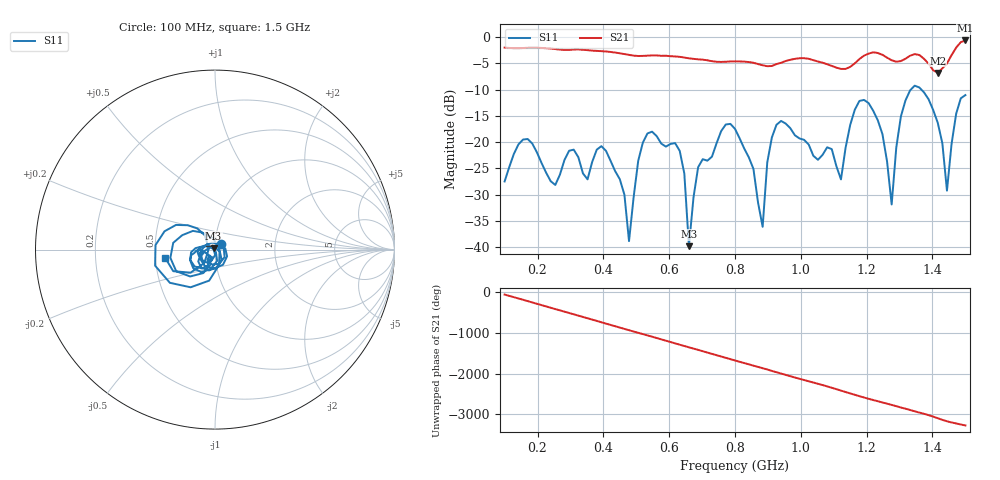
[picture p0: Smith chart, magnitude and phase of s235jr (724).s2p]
! NanoVNA-App
! Date: 2025-09-25 15:09:48
! Start: 100MHz Stop: 1,5GHz Points: 101
! S-Parameter data: F S11 S21 S12 S22
# Hz S RI R 50
!  Frequency  S11_Real  S11_Imag  S21_Real  S21_Imag  S12_Real  S12_Imag  S22_Real  S22_Imag
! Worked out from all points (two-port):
!   101 points, 100 MHz to 1.5 GHz, reference 50 ohm
!   highest |S21| = -0.62 dB at 1.5 GHz (marker M1); lowest = -6.8 dB at 1.416 GHz (marker M2)
!   |S21| within 3 dB of the highest: start of sweep to 604.6 MHz; 1.19 GHz to 1.255 GHz (65.09 MHz wide, 5.33 % of centre) (the widest 2 of 4)
!   lowest |S11| = -39.8 dB at 660 MHz (marker M3), VSWR 1.02, Z = 49.2 + j0.618 ohm
!   |S11| at or under -10 dB: start of sweep to 1.334 GHz; 1.367 GHz to end of sweep
!   S12 and S22 are empty: the file has one direction only
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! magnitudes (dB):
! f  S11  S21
! 100 MHz  -27.5  -2.0
! 170 MHz  -19.4  -2.0
! 338 MHz  -25.9  -2.4
! 408 MHz  -21.6  -2.7
! 478 MHz  -38.8  -3.4
! 520 MHz  -20.1  -3.6
! 576 MHz  -20.3  -3.5
! 632 MHz  -21.6  -3.7
! 660 MHz  -39.8  -4.0
! 688 MHz  -24.8  -4.2
! 800 MHz  -17.5  -4.6
! 884 MHz  -36.1  -5.3
! 926 MHz  -16.7  -5.1
! 1.038 GHz  -22.6  -4.4
! 1.122 GHz  -27.1  -6.0
! 1.192 GHz  -11.9  -3.5
! 1.248 GHz  -18.5  -3.4
! 1.276 GHz  -31.9  -4.4
! 1.332 GHz  -10.1  -3.5
! 1.416 GHz  -16.3  -6.8
! 1.444 GHz  -29.2  -5.0
! 1.5 GHz  -11.0  -0.6
